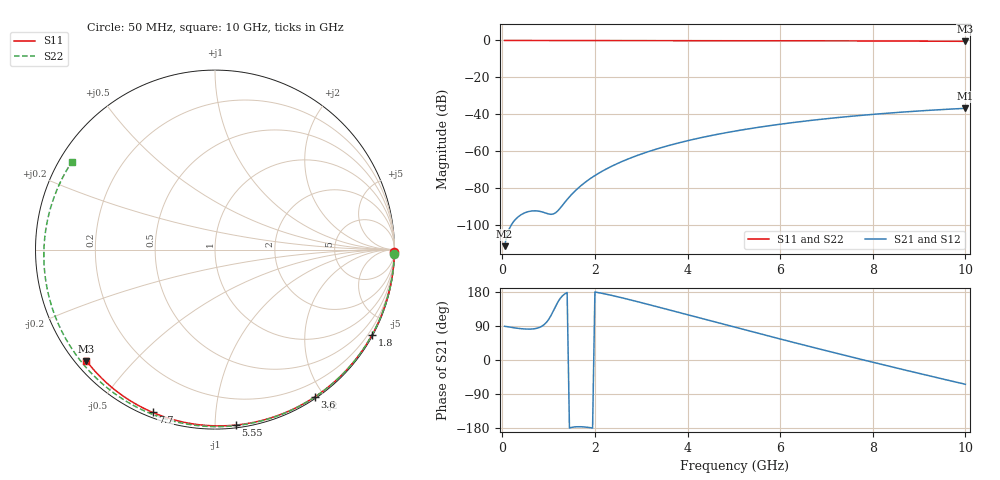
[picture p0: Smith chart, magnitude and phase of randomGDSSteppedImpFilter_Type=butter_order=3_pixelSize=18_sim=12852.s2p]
! freq	dB(S11)	phase(S11)	dB(S12)	phase(S12)
!  dB(S21)	phase(S21)	dB(S22)	phase(S22)
!S-par simulation data
#  GHz  S  DB  R 50
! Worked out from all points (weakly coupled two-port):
!   200 points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, 50 MHz to 10 GHz, reference 50 ohm
!   highest |S21| = -36.82 dB at 10 GHz (marker M1); lowest = -111.6 dB at 50 MHz (marker M2)
!   lowest |S11| = -0.5 dB at 10 GHz (marker M3), VSWR 36.87, Z = 1.54 - j18.6 ohm
!   |S11| at or under -10 dB: nowhere
!   |S22| runs from -0.6 to 0.0 dB; largest |S21 - S12| = 0
!   S11 on the Smith chart (normalised r, x): 50 MHz: open; 1.8 GHz: 0.03, -3.93; 3.6 GHz: 0.02, -1.89; 5.55 GHz: 0.02, -1.13; 7.7 GHz: 0.02, -0.69; 10 GHz: 0.03, -0.37
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0.05  -0.00 -0.8  -111.61 89.0  -111.61 89.0  -0.00 -1.3
0.4  -0.01 -6.4  -94.64 82.7  -94.64 82.7  -0.01 -10.2
0.8  -0.02 -12.8  -92.67 85.9  -92.67 85.9  -0.03 -20.3
1.6  -0.03 -25.4  -80.98 -176.2  -80.98 -176.2  -0.05 -40.1
1.65  -0.03 -26.2  -79.84 -176.0  -79.84 -176.0  -0.05 -41.3
1.75  -0.04 -27.8  -77.73 -176.5  -77.73 -176.5  -0.06 -43.8
1.8  -0.04 -28.6  -76.76 -177.0  -76.76 -177.0  -0.06 -45.0
2.1  -0.04 -33.2  -71.77 177.3  -71.77 177.3  -0.07 -52.1
2.5  -0.05 -39.3  -66.61 166.6  -66.61 166.6  -0.08 -61.5
2.9  -0.06 -45.4  -62.52 154.5  -62.52 154.5  -0.09 -70.6
3.4  -0.07 -52.8  -58.39 138.7  -58.39 138.7  -0.11 -81.7
3.6  -0.08 -55.8  -56.96 132.3  -56.96 132.3  -0.11 -86.0
4.3  -0.09 -65.9  -52.69 109.7  -52.69 109.7  -0.14 -100.8
5.05  -0.12 -76.4  -49.07 85.6  -49.07 85.6  -0.17 -115.9
5.55  -0.14 -83.2  -47.05 69.6  -47.05 69.6  -0.20 -125.7
6.15  -0.16 -91.2  -44.95 50.7  -44.95 50.7  -0.23 -137.2
6.7  -0.19 -98.3  -43.28 33.6  -43.28 33.6  -0.27 -147.5
7.2  -0.22 -104.7  -41.94 18.3  -41.94 18.3  -0.31 -156.9
7.7  -0.25 -111.0  -40.75 3.1  -40.75 3.1  -0.35 -166.3
8.35  -0.31 -119.1  -39.40 -16.3  -39.40 -16.3  -0.41 -178.6
9.2  -0.38 -129.4  -37.93 -41.2  -37.93 -41.2  -0.50 164.8
10  -0.47 -139.1  -36.82 -64.1  -36.82 -64.1  -0.58 148.4
